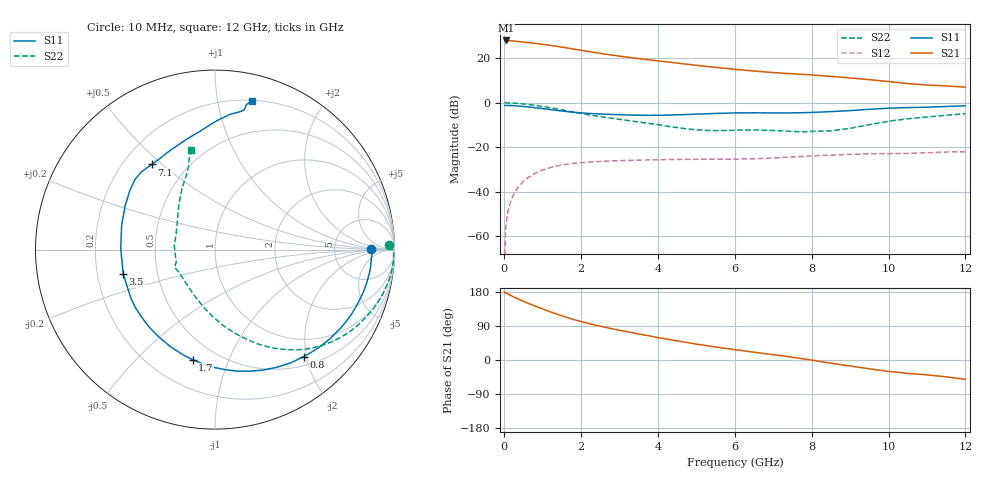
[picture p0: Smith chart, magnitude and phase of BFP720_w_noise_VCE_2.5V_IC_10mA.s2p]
! Infineon Technologies  Discrete & RF Semiconductors
! BFP720
! VCE =  2.5 V,  IC =  10 mA
! Common Emitter S-Parameters:  Aug 2012
# GHz  S  MA  R  50
!  f  S11  S21  S12  S22
! GHz  MAG  ANG  MAG  ANG  MAG  ANG  MAG  ANG
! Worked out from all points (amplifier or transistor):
!   105 points, 10 MHz to 12 GHz, reference 50 ohm
!   highest |S21| = 28.0 dB at 50 MHz (marker M1)
!   |S21| within 3 dB of that: start of sweep to 1.497 GHz
!   lowest NFmin = 0.53 dB at 450 MHz
!   S11 on the Smith chart (normalised r, x): 10 MHz: 15, +1; 800 MHz: 0.65, -1.96; 1.7 GHz: 0.37, -0.75; 3.5 GHz: 0.31, -0.12; 7.1 GHz: 0.32, +0.46; 12 GHz: 0.20, +1.26
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0.01  0.8713 0.4  24.96 179.9  0 -43.5  0.9718 1.4
0.02  0.8761 -1.2  24.94 178.2  0.0006 88.9  0.9948 -0.6
0.05  0.8722 -3.2  25.17 176.7  0.0019 85.4  0.9959 -1.9
0.25  0.8596 -16.0  24.39 166.3  0.0089 81.6  0.9829 -10.3
0.4  0.8412 -25.4  23.62 159.3  0.0138 75.7  0.9601 -16.4
0.6  0.8108 -37.7  22.6 150.7  0.0202 69.2  0.9226 -24.0
0.8  0.7755 -50.2  21.7 142.4  0.0259 62.8  0.8791 -31.4
1  0.741 -62.2  20.58 134.7  0.0309 56.8  0.8281 -38.4
1.2  0.7049 -74.0  19.48 127.1  0.0351 51.2  0.7748 -44.9
1.4  0.6711 -85.3  18.35 120.0  0.0385 46.2  0.7204 -50.8
1.7  0.6257 -101.5  16.73 110.1  0.0424 39.7  0.6424 -58.8
2.1  0.5846 -119.0  14.65 99.0  0.0458 32.7  0.5565 -67.6
2.4  0.5665 -130.4  13.31 91.4  0.0477 28.7  0.5043 -73.5
2.8  0.549 -143.6  11.83 82.5  0.0495 24.3  0.449 -80.5
3.5  0.5292 -165.2  9.847 68.5  0.0515 18.6  0.3709 -92.4
4.1  0.5255 176.2  8.538 57.5  0.0527 14.8  0.3116 -104.7
5  0.5569 154.0  6.961 41.8  0.0538 10.5  0.2473 -130.6
6.1  0.5932 137.6  5.56 25.9  0.0545 8.1  0.2425 -154.2
7.1  0.591 126.6  4.722 12.7  0.0579 8.3  0.2362 -159.2
8.5  0.6335 104.8  3.927 -8.3  0.0666 3.2  0.2336 157.9
10.5  0.7802 79.8  2.704 -35.3  0.073 -7.1  0.4383 111.7
12  0.8542 76.1  2.248 -51.1  0.0795 -14.7  0.5682 103.5
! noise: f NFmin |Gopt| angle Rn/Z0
0.45  0.53  0.29  1  0.21
1.8  0.58  0.26  18  0.12
2.4  0.64  0.23  38  0.29
5.5  0.78  0.11  20  0.14
10  0.97  0.4  -78  0.22
